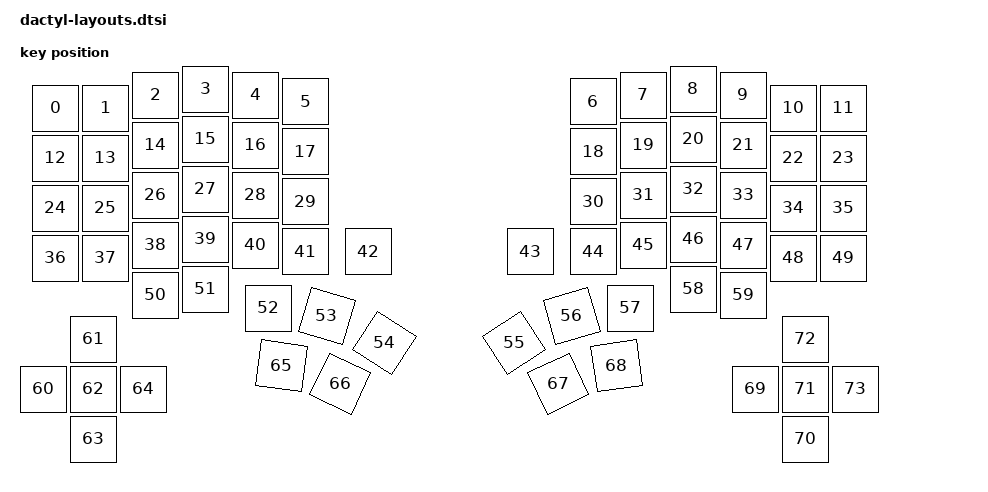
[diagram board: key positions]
#include <physical_layouts.dtsi>

/ {
    physical_layout: physical_layout_0 {
        compatible = "zmk,physical-layout";
        display-name = "dactyl";

        // kscan = <&kscan0>;
        // transform = <&matrix_transform0>;

        studio-config {
        compatible = "zmk,studio-config";
        };

        keys  //                     w   h    x    y     rot    rx    ry
            = <&key_physical_attrs 100 100   25   38       0     0     0>
            , <&key_physical_attrs 100 100  125   38       0     0     0>
            , <&key_physical_attrs 100 100  225   12       0     0     0>
            , <&key_physical_attrs 100 100  325    0       0     0     0>
            , <&key_physical_attrs 100 100  425   12       0     0     0>
            , <&key_physical_attrs 100 100  525   25       0     0     0>
            , <&key_physical_attrs 100 100 1100   25       0     0     0>
            , <&key_physical_attrs 100 100 1200   12       0     0     0>
            , <&key_physical_attrs 100 100 1300    0       0     0     0>
            , <&key_physical_attrs 100 100 1400   12       0     0     0>
            , <&key_physical_attrs 100 100 1500   38       0     0     0>
            , <&key_physical_attrs 100 100 1600   38       0     0     0>
            , <&key_physical_attrs 100 100   25  138       0     0     0>
            , <&key_physical_attrs 100 100  125  138       0     0     0>
            , <&key_physical_attrs 100 100  225  112       0     0     0>
            , <&key_physical_attrs 100 100  325  100       0     0     0>
            , <&key_physical_attrs 100 100  425  112       0     0     0>
            , <&key_physical_attrs 100 100  525  125       0     0     0>
            , <&key_physical_attrs 100 100 1100  125       0     0     0>
            , <&key_physical_attrs 100 100 1200  112       0     0     0>
            , <&key_physical_attrs 100 100 1300  100       0     0     0>
            , <&key_physical_attrs 100 100 1400  112       0     0     0>
            , <&key_physical_attrs 100 100 1500  138       0     0     0>
            , <&key_physical_attrs 100 100 1600  138       0     0     0>
            , <&key_physical_attrs 100 100   25  238       0     0     0>
            , <&key_physical_attrs 100 100  125  238       0     0     0>
            , <&key_physical_attrs 100 100  225  212       0     0     0>
            , <&key_physical_attrs 100 100  325  200       0     0     0>
            , <&key_physical_attrs 100 100  425  212       0     0     0>
            , <&key_physical_attrs 100 100  525  225       0     0     0>
            , <&key_physical_attrs 100 100 1100  225       0     0     0>
            , <&key_physical_attrs 100 100 1200  212       0     0     0>
            , <&key_physical_attrs 100 100 1300  200       0     0     0>
            , <&key_physical_attrs 100 100 1400  212       0     0     0>
            , <&key_physical_attrs 100 100 1500  238       0     0     0>
            , <&key_physical_attrs 100 100 1600  238       0     0     0>
            , <&key_physical_attrs 100 100   25  338       0     0     0>
            , <&key_physical_attrs 100 100  125  338       0     0     0>
            , <&key_physical_attrs 100 100  225  312       0     0     0>
            , <&key_physical_attrs 100 100  325  300       0     0     0>
            , <&key_physical_attrs 100 100  425  312       0     0     0>
            , <&key_physical_attrs 100 100  525  325       0     0     0>
            , <&key_physical_attrs 100 100  650  325       0     0     0>
            , <&key_physical_attrs 100 100  975  325       0     0     0>
            , <&key_physical_attrs 100 100 1100  325       0     0     0>
            , <&key_physical_attrs 100 100 1200  312       0     0     0>
            , <&key_physical_attrs 100 100 1300  300       0     0     0>
            , <&key_physical_attrs 100 100 1400  312       0     0     0>
            , <&key_physical_attrs 100 100 1500  338       0     0     0>
            , <&key_physical_attrs 100 100 1600  338       0     0     0>
            , <&key_physical_attrs 100 100  225  412       0     0     0>
            , <&key_physical_attrs 100 100  325  400       0     0     0>
            , <&key_physical_attrs 100 100  450  438       0     0     0>
            , <&key_physical_attrs 100 100  700  388    1600   450     0>
            , <&key_physical_attrs 100 100  700  750    3300  1150   650>
            , <&key_physical_attrs 100 100  925  750 (-3300)   575   650>
            , <&key_physical_attrs 100 100  925  388 (-1600)  1275     0>
            , <&key_physical_attrs 100 100 1175  438       0     0     0>
            , <&key_physical_attrs 100 100 1300  400       0     0     0>
            , <&key_physical_attrs 100 100 1400  412       0     0     0>
            , <&key_physical_attrs 100 100    0  600       0     0     0>
            , <&key_physical_attrs 100 100  100  500       0     0     0>
            , <&key_physical_attrs 100 100  100  600       0     0     0>
            , <&key_physical_attrs 100 100  100  700       0     0     0>
            , <&key_physical_attrs 100 100  200  600       0     0     0>
            , <&key_physical_attrs 100 100  550  538     800   450    75>
            , <&key_physical_attrs 100 100  750  513    2500   550   250>
            , <&key_physical_attrs 100 100  875  513 (-2500)  1175   250>
            , <&key_physical_attrs 100 100 1075  538  (-800)  1275    75>
            , <&key_physical_attrs 100 100 1425  600       0     0     0>
            , <&key_physical_attrs 100 100 1525  700       0     0     0>
            , <&key_physical_attrs 100 100 1525  600       0     0     0>
            , <&key_physical_attrs 100 100 1525  500       0     0     0>
            , <&key_physical_attrs 100 100 1625  600       0     0     0>
            ;
    };
};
